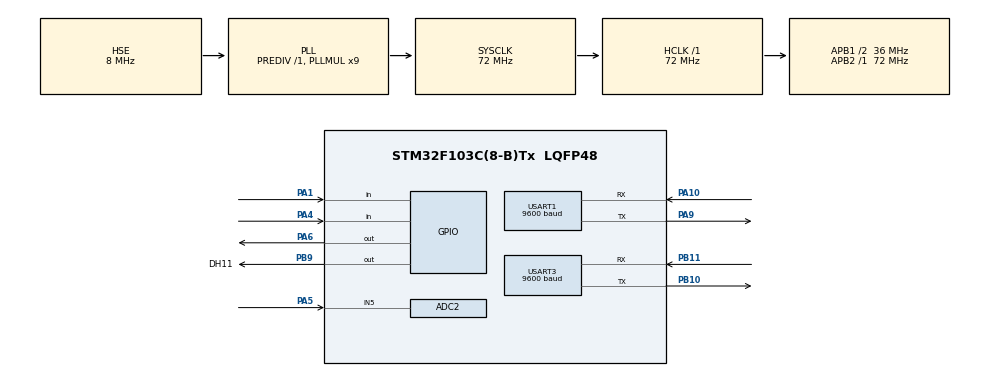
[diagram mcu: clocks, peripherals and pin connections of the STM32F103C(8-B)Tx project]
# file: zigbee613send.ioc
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ADC2.Channel-4\#ChannelRegularConversion=ADC_CHANNEL_5
ADC2.NbrOfConversionFlag=1
ADC2.Rank-4\#ChannelRegularConversion=1
ADC2.SamplingTime-4\#ChannelRegularConversion=ADC_SAMPLETIME_1CYCLE_5
FREERTOS.Tasks01=Vibration_PIR_T,0,128,StartVibration_PIR_Task,Default,NULL,Dynamic,NULL,NULL;Light_Task,0,256,StartLight_Task,Default,NULL,Dynamic,NULL,NULL;DHT11_Task,-1,256,StartDHT11_Task,Default,NULL,Dynamic,NULL,NULL
Mcu.Family=STM32F1
Mcu.Name=STM32F103C(8-B)Tx
Mcu.Package=LQFP48
NVIC.PriorityGroup=NVIC_PRIORITYGROUP_4
NVIC.TIM2_IRQn=true\:15\:0\:false\:false\:true\:false\:false\:true\:true
NVIC.TimeBase=TIM2_IRQn
NVIC.TimeBaseIP=TIM2
NVIC.USART1_IRQn=true\:5\:0\:false\:false\:true\:true\:true\:true\:true
PA1.Signal=GPIO_Input
PA10.Mode=Asynchronous
PA10.Signal=USART1_RX
PA13.Mode=Serial_Wire
PA13.Signal=SYS_JTMS-SWDIO
PA14.Mode=Serial_Wire
PA14.Signal=SYS_JTCK-SWCLK
PA4.Signal=GPIO_Input
PA5.Signal=ADCx_IN5
PA6.PinState=GPIO_PIN_SET
PA6.Signal=GPIO_Output
PA9.Mode=Asynchronous
PA9.Signal=USART1_TX
PB10.Mode=Asynchronous
PB10.Signal=USART3_TX
PB11.Mode=Asynchronous
PB11.Signal=USART3_RX
PB9.GPIO_Label=DH11
PB9.GPIO_PuPd=GPIO_PULLUP
PB9.GPIO_Speed=GPIO_SPEED_FREQ_HIGH
PB9.PinState=GPIO_PIN_SET
PB9.Signal=GPIO_Output
PD0-OSC_IN.Mode=HSE-External-Oscillator
PD0-OSC_IN.Signal=RCC_OSC_IN
PD1-OSC_OUT.Mode=HSE-External-Oscillator
PD1-OSC_OUT.Signal=RCC_OSC_OUT
ProjectManager.HeapSize=0x200
ProjectManager.StackSize=0x400
ProjectManager.TargetToolchain=MDK-ARM V5.32
RCC.ADCPresc=RCC_ADCPCLK2_DIV6
RCC.AHBFreq_Value=72000000
RCC.APB1CLKDivider=RCC_HCLK_DIV2
RCC.APB1Freq_Value=36000000
RCC.APB1TimFreq_Value=72000000
RCC.APB2Freq_Value=72000000
RCC.APB2TimFreq_Value=72000000
RCC.HCLKFreq_Value=72000000
RCC.PLLMUL=RCC_PLL_MUL9
RCC.PLLSourceVirtual=RCC_PLLSOURCE_HSE
RCC.SYSCLKFreq_VALUE=72000000
RCC.SYSCLKSource=RCC_SYSCLKSOURCE_PLLCLK
RCC.USBFreq_Value=72000000
SH.ADCx_IN5.0=ADC2_IN5,IN5
USART1.BaudRate=9600
USART1.VirtualMode=VM_ASYNC
USART3.BaudRate=9600
USART3.VirtualMode=VM_ASYNC
VP_FREERTOS_VS_CMSIS_V1.Mode=CMSIS_V1
VP_SYS_VS_tim2.Mode=TIM2
board=custom

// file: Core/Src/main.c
/* USER CODE BEGIN Header */
/**
 ******************************************************************************
 * @file           : main.c
 * @brief          : Main program body
 ******************************************************************************
 * @attention
 *
 * Copyright (c) 2025 STMicroelectronics.
 * All rights reserved.
 *
 * This software is licensed under terms that can be found in the LICENSE file
 * in the root directory of this software component.
 * If no LICENSE file comes with this software, it is provided AS-IS.
 *
 ******************************************************************************
 */
/* USER CODE END Header */
#include "main.h"
#include "cmsis_os.h"
#include "adc.h"
#include "usart.h"
#include "gpio.h"

/* USER CODE BEGIN Includes */
#include <stdio.h>
#include <string.h>
#include "dht11.h"
/* USER CODE END Includes */

/* USER CODE BEGIN PV */
uint8_t rxbuf[4] = {0};
uint8_t text[20] = {0};
uint8_t flag3 = 0;
uint8_t i = 0;
uint8_t data_dht11[5] = {0};

#define THRESHOLD_VOLTAGE 3300 // 根据实际电压调整阈值（单位：mV）
static uint8_t last_state = GPIO_PIN_SET;
/* USER CODE END PV */

void SystemClock_Config(void);
void MX_FREERTOS_Init(void);

/* USER CODE BEGIN 0 */
void Buzzer_On(void)
{
    HAL_GPIO_WritePin(GPIOA, GPIO_PIN_6, GPIO_PIN_RESET);
}

void Buzzer_Off(void)
{
    HAL_GPIO_WritePin(GPIOA, GPIO_PIN_6, GPIO_PIN_SET);
}

void Buzzer_Beep(uint32_t duration_ms)
{
    Buzzer_On();
    osDelay(duration_ms); // 使用 FreeRTOS 延时
    Buzzer_Off();
}

uint32_t Get_Light_Voltage_ADC2(void)
{
    uint32_t sum = 0;
    for (int i = 0; i < 10; i++)
    {
        HAL_ADC_Start(&hadc2);
        if (HAL_ADC_PollForConversion(&hadc2, 100) == HAL_OK)
        {
            sum += HAL_ADC_GetValue(&hadc2);
        }
        HAL_ADC_Stop(&hadc2);
        osDelay(1); // 提高稳定性
    }

    uint32_t adc_value = sum / 10;
    return (adc_value * 3300UL) / 4095UL; // 返回电压值（mV）
}
/* USER CODE END 0 */

int main(void)
{

  /* MCU Configuration--------------------------------------------------------*/

  /* Reset of all peripherals, Initializes the Flash interface and the Systick. */
  HAL_Init();

  /* Configure the system clock */
  SystemClock_Config();

  /* Initialize all configured peripherals */
  MX_GPIO_Init();
  MX_USART1_UART_Init();
  MX_USART3_UART_Init();
  MX_ADC2_Init();
  /* USER CODE BEGIN 2 */
  HAL_UART_Receive_IT(&huart1, (uint8_t *)text, sizeof(text));
  Buzzer_Off();
//printf("环境光线较暗\r\n");
  /* USER CODE END 2 */

  /* Call init function for freertos objects (in freertos.c) */
  MX_FREERTOS_Init();

  /* Start scheduler */
  osKernelStart();

  /* We should never get here as control is now taken by the scheduler */
  /* Infinite loop */
  while (1)
  {

  }
}

void SystemClock_Config(void)
{
  RCC_OscInitTypeDef RCC_OscInitStruct = {0};
  RCC_ClkInitTypeDef RCC_ClkInitStruct = {0};
  RCC_PeriphCLKInitTypeDef PeriphClkInit = {0};

  /** Initializes the RCC Oscillators according to the specified parameters
  * in the RCC_OscInitTypeDef structure.
  */
  RCC_OscInitStruct.OscillatorType = RCC_OSCILLATORTYPE_HSE;
  RCC_OscInitStruct.HSEState = RCC_HSE_ON;
  RCC_OscInitStruct.HSEPredivValue = RCC_HSE_PREDIV_DIV1;
  RCC_OscInitStruct.HSIState = RCC_HSI_ON;
  RCC_OscInitStruct.PLL.PLLState = RCC_PLL_ON;
  RCC_OscInitStruct.PLL.PLLSource = RCC_PLLSOURCE_HSE;
  RCC_OscInitStruct.PLL.PLLMUL = RCC_PLL_MUL9;
  if (HAL_RCC_OscConfig(&RCC_OscInitStruct) != HAL_OK)
  {
    Error_Handler();
  }

  /** Initializes the CPU, AHB and APB buses clocks
  */
  RCC_ClkInitStruct.ClockType = RCC_CLOCKTYPE_HCLK|RCC_CLOCKTYPE_SYSCLK
                              |RCC_CLOCKTYPE_PCLK1|RCC_CLOCKTYPE_PCLK2;
  RCC_ClkInitStruct.SYSCLKSource = RCC_SYSCLKSOURCE_PLLCLK;
  RCC_ClkInitStruct.AHBCLKDivider = RCC_SYSCLK_DIV1;
  RCC_ClkInitStruct.APB1CLKDivider = RCC_HCLK_DIV2;
  RCC_ClkInitStruct.APB2CLKDivider = RCC_HCLK_DIV1;

  if (HAL_RCC_ClockConfig(&RCC_ClkInitStruct, FLASH_LATENCY_2) != HAL_OK)
  {
    Error_Handler();
  }
  PeriphClkInit.PeriphClockSelection = RCC_PERIPHCLK_ADC;
  PeriphClkInit.AdcClockSelection = RCC_ADCPCLK2_DIV6;
  if (HAL_RCCEx_PeriphCLKConfig(&PeriphClkInit) != HAL_OK)
  {
    Error_Handler();
  }
}

/* USER CODE BEGIN 4 */
//void MyDefaultTask(void *argument)
//{
//    for (;;)
//    {
//        osDelay(1000);
//    }
//}

//void DHT11_Task(void *argument)
//{
//		//HAL_GPIO_WritePin(GPIOA, GPIO_PIN_6, GPIO_PIN_RESET);
//    char message_error[] = "DHT11 error !\r\n";
//    char buffer[64];
//    uint16_t len;

//    for (;;)
//    {
//        if (DHT11_READ_DATA() == 1)
//        {
//            len = snprintf(buffer, sizeof(buffer), "%d.%d,%d.%d\n",
//                           data_dht11[0], data_dht11[1], data_dht11[2], data_dht11[3]);
//            HAL_UART_Transmit(&huart3, (uint8_t*)buffer, len, 20000);
//        }
//        else
//        {
//            HAL_UART_Transmit(&huart3, (uint8_t*)message_error, strlen(message_error), 20000);
//        }

//        osDelay(3000); // 每3秒读取一次
//    }
//}

//void Vibration_Task(void *argument)
//{
//    static uint8_t last_state = GPIO_PIN_SET;

//    for (;;)
//    {
//        uint8_t current_state = HAL_GPIO_ReadPin(GPIOA, GPIO_PIN_1);

//        if (current_state != last_state)
//        {
//            if (current_state == GPIO_PIN_RESET)
//            {
//                HAL_UART_Transmit(&huart1, (uint8_t*)"震动\r\n", strlen("震动\r\n"), 2000);
//            }
//            last_state = current_state;
//        }

//        osDelay(100);
//    }
//}

//void Light_Task(void *argument)
//{
//    for (;;)
//    {
//        uint32_t lightVoltage = Get_Light_Voltage_ADC2();

//        if (lightVoltage < 1533)
//        {
//            printf("环境光线较暗: %d\r\n", lightVoltage);
//            Buzzer_Beep(500);
//        }
//        else
//        {
//            printf("环境光线充足: %d\r\n", lightVoltage);
//        }

//        osDelay(1000);
//    }
//}

//void PIR_Task(void *argument)
//{
//    for (;;)
//    {
//        if (HAL_GPIO_ReadPin(PIR_SENSOR_GPIO_PORT, PIR_SENSOR_PIN) == GPIO_PIN_SET)
//        {
//            char *pirDetected = "Human detected!\r\n";
//            HAL_UART_Transmit(&huart1, (uint8_t*)pirDetected, strlen(pirDetected), 2000);
//            Buzzer_Beep(1000);
//        }
//        else
//        {
//            char *noHuman = "No human detected.\r\n";
//            HAL_UART_Transmit(&huart1, (uint8_t*)noHuman, strlen(noHuman), 2000);
//        }

//        osDelay(1000);
//    }
//}
/* USER CODE END 4 */

void HAL_TIM_PeriodElapsedCallback(TIM_HandleTypeDef *htim)
{
  if (htim->Instance == TIM2) {
    HAL_IncTick();
  }
}

void Error_Handler(void)
{
  __disable_irq();
  while (1)
  {
  }
}

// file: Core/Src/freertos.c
/* USER CODE BEGIN Header */
/**
  ******************************************************************************
  * File Name          : freertos.c
  * Description        : Code for freertos applications
  ******************************************************************************
  * @attention
  *
  * Copyright (c) 2025 STMicroelectronics.
  * All rights reserved.
  *
  * This software is licensed under terms that can be found in the LICENSE file
  * in the root directory of this software component.
  * If no LICENSE file comes with this software, it is provided AS-IS.
  *
  ******************************************************************************
  */
/* USER CODE END Header */

#include "FreeRTOS.h"
#include "task.h"
#include "main.h"
#include "cmsis_os.h"

/* USER CODE BEGIN Includes */
#include "stdio.h"
#include "string.h"
#include "dht11.h"
/* USER CODE END Includes */

/* USER CODE BEGIN PTD */
extern UART_HandleTypeDef huart1;
extern UART_HandleTypeDef huart3;
uint8_t PIR_state;
uint8_t Light_state;
/* USER CODE END PTD */

osThreadId Vibration_PIR_THandle;
osThreadId Light_TaskHandle;
osThreadId DHT11_TaskHandle;

void StartVibration_PIR_Task(void const * argument);
void StartLight_Task(void const * argument);
void StartDHT11_Task(void const * argument);

void MX_FREERTOS_Init(void); /* (MISRA C 2004 rule 8.1) */

/* GetIdleTaskMemory prototype (linked to static allocation support) */
void vApplicationGetIdleTaskMemory( StaticTask_t **ppxIdleTaskTCBBuffer, StackType_t **ppxIdleTaskStackBuffer, uint32_t *pulIdleTaskStackSize );

/* USER CODE BEGIN GET_IDLE_TASK_MEMORY */
static StaticTask_t xIdleTaskTCBBuffer;
static StackType_t xIdleStack[configMINIMAL_STACK_SIZE];

void vApplicationGetIdleTaskMemory( StaticTask_t **ppxIdleTaskTCBBuffer, StackType_t **ppxIdleTaskStackBuffer, uint32_t *pulIdleTaskStackSize )
{
  *ppxIdleTaskTCBBuffer = &xIdleTaskTCBBuffer;
  *ppxIdleTaskStackBuffer = &xIdleStack[0];
  *pulIdleTaskStackSize = configMINIMAL_STACK_SIZE;
  /* place for user code */
}
/* USER CODE END GET_IDLE_TASK_MEMORY */

void MX_FREERTOS_Init(void) {

  /* Create the thread(s) */
  /* definition and creation of Vibration_PIR_T */
  osThreadDef(Vibration_PIR_T, StartVibration_PIR_Task, osPriorityNormal, 0, 128);
  Vibration_PIR_THandle = osThreadCreate(osThread(Vibration_PIR_T), NULL);

  /* definition and creation of Light_Task */
  osThreadDef(Light_Task, StartLight_Task, osPriorityNormal, 0, 256);
  Light_TaskHandle = osThreadCreate(osThread(Light_Task), NULL);

  /* definition and creation of DHT11_Task */
  osThreadDef(DHT11_Task, StartDHT11_Task, osPriorityBelowNormal, 0, 256);
  DHT11_TaskHandle = osThreadCreate(osThread(DHT11_Task), NULL);

}

void StartVibration_PIR_Task(void const * argument)
{
  /* USER CODE BEGIN StartVibration_PIR_Task */
		static uint8_t last_vibration_state = GPIO_PIN_SET;
		char sensor_buff[20] = {0};
  /* Infinite loop */
  for(;;)
  {
 // 处理振动传感器
    uint8_t current_vib_state = HAL_GPIO_ReadPin(GPIOA, GPIO_PIN_1);

    if (current_vib_state != last_vibration_state)
    {
        if (current_vib_state == GPIO_PIN_RESET)
        {
						osDelay(100);
						//printf("震动\r\n");
            HAL_UART_Transmit(&huart3, (uint8_t*)"V:down\r\n", strlen("V:down\r\n"), 2000);
        }
        last_vibration_state = current_vib_state;
    }

    // 处理PIR传感器
    if (HAL_GPIO_ReadPin(PIR_SENSOR_GPIO_PORT, PIR_SENSOR_PIN) == GPIO_PIN_SET)
    {
        PIR_state = 1;
				//printf("有人\r\n");
        snprintf(sensor_buff, sizeof(sensor_buff), "P:%d\r\n", PIR_state);
        HAL_UART_Transmit(&huart3, (uint8_t*)sensor_buff, strlen(sensor_buff), 20000);
        Buzzer_Beep(1000);
    }
    else
    {
        PIR_state = 0;
        snprintf(sensor_buff, sizeof(sensor_buff), "P:%d\r\n", PIR_state);
        HAL_UART_Transmit(&huart3, (uint8_t*)sensor_buff, strlen(sensor_buff), 20000);
    }

    osDelay(100); // 使用最短的延迟，因为这是两个传感器中需要的
  }
  /* USER CODE END StartVibration_PIR_Task */
}

void StartLight_Task(void const * argument)
{
  /* USER CODE BEGIN StartLight_Task */

		//printf("hello\r\n");
		char Light_buff[10] = {0};
  /* Infinite loop */
    for (;;)
    {
        uint32_t lightVoltage = Get_Light_Voltage_ADC2();

        if (lightVoltage < 1533)
        {
						Light_state=0;
            //printf("环境光线较暗: %d\r\n", lightVoltage);
            Buzzer_Beep(500);
        }
        else
        {
						Light_state=1;
            //printf("环境光线充足: %d\r\n", lightVoltage);
        }

				snprintf(Light_buff, sizeof(Light_buff), "L:%d\r\n",lightVoltage);
				HAL_UART_Transmit(&huart3, (uint8_t*)Light_buff, strlen(Light_buff), 20000);

        osDelay(1000);
    }
  /* USER CODE END StartLight_Task */
}

void StartDHT11_Task(void const * argument)
{
  /* USER CODE BEGIN StartDHT11_Task */
  /* Infinite loop */
	osDelay(1000); // 延迟1秒等待系统稳定
		char buffer[64];
    uint16_t len;
    char message_error[] = "DHT11 error !\r\n";
    for (;;)
    {
//									printf("Raw DHT11 Data: %d.%d°C, %d.%d%%\r\n",
//                   data_dht11[0], data_dht11[1], data_dht11[2], data_dht11[3]);

        if (DHT11_READ_DATA() == 1)
        {

            len = snprintf(buffer, sizeof(buffer), "T:%d.%d,H:%d.%d\r\n",
                           data_dht11[0], data_dht11[1], data_dht11[2], data_dht11[3]);
            HAL_UART_Transmit(&huart3, (uint8_t*)buffer, len, 20000);
        }
        else
        {
            HAL_UART_Transmit(&huart3, (uint8_t*)message_error, strlen(message_error), 20000);
        }

        osDelay(2000); // 每3秒读取一次
    }
  /* USER CODE END StartDHT11_Task */
}
